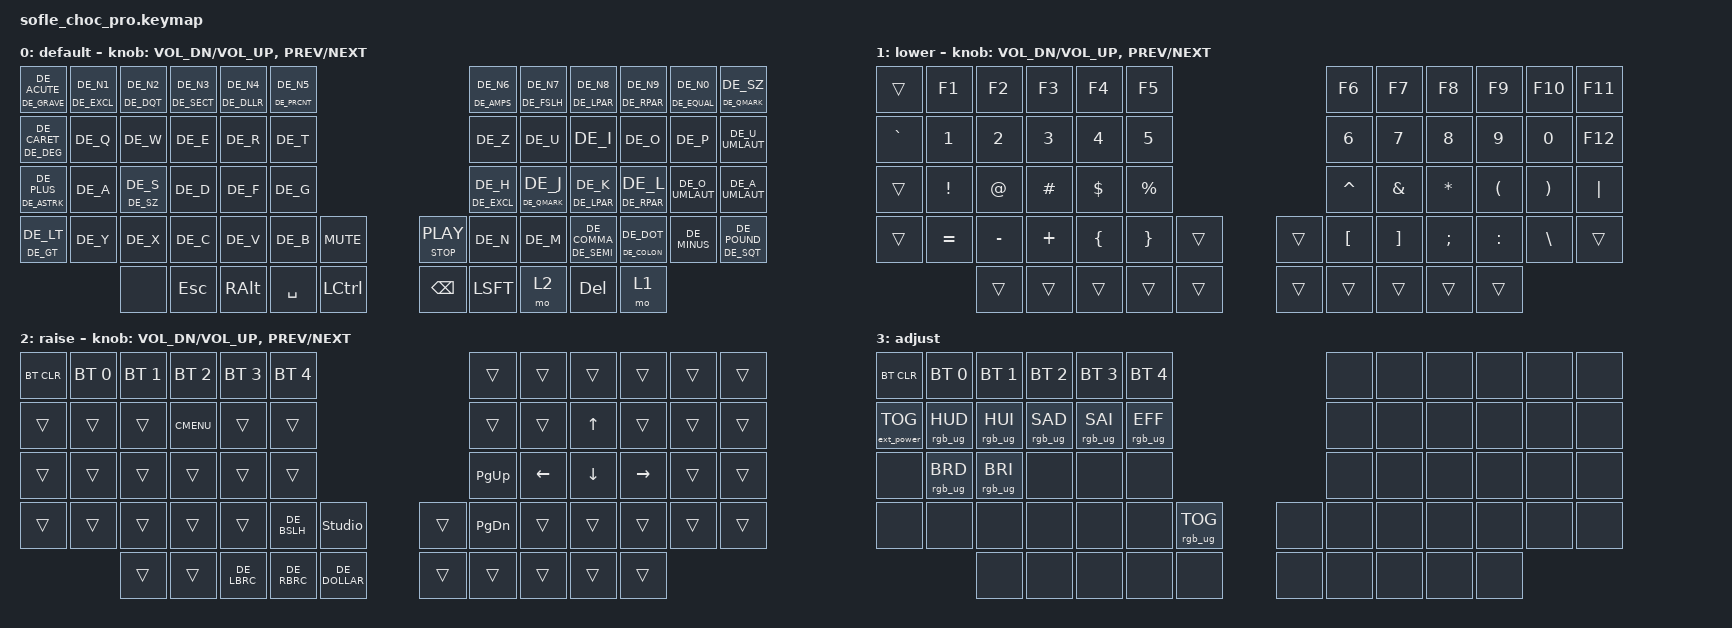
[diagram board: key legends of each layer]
/*
* Copyright (c) 2020 The ZMK Contributors
* keys_de wurde ebenfalls eingebunden. Bin auf dem Weg zu QWERTZ
* SPDX-License-Identifier: MIT
*/

#include <behaviors.dtsi>
// #include <behaviors/mouse_keys.dtsi>
#include <dt-bindings/zmk/keys.h>
#include <dt-bindings/zmk/bt.h>
#include <dt-bindings/zmk/rgb.h>
#include <dt-bindings/zmk/ext_power.h>
// #include <dt-bindings/zmk/pointing.h>
// #include <dt-bindings/zmk/mouse.h>
#include "keys_de.h"

/ {

  // Activate ADJUST layer by pressing raise and lower
  conditional_layers {
    compatible = "zmk,conditional-layers";
    adjust_layer {
      if-layers = <1 2>;
      then-layer = <3>;
    };
  };

//hier kommt Behaviors-Block für hold-tap rein
behaviors {

    sym_ht: symbol_hold_tap {
        compatible = "zmk,behavior-hold-tap";
        #binding-cells = <2>;

        flavor = "balanced";
        tapping-term-ms = <290>;

        bindings = <&kp>, <&kp>;
    };

};
//Blockende von Tapdance Behavior

combos {
        compatible = "zmk,combos";

        combo_hj_enter {
            timeout-ms = <50>;
            key-positions = <30 31>;
            bindings = <&kp RET>;
        };
    };

  keymap {
    compatible = "zmk,keymap";

    default_layer {
      display-name = "default";
      // ------------------------------------------------------------------------------------------------------------
      // |   `   |  1  |  2  |  3   |  4   |  5   |                   |  6   |  7    |  8    |  9   |   0   |   ß   |
      // |   ^   |  Q  |  W  |  E   |  R   |  T   |                   |  Y   |  U    |  I    |  O   |   P   |   Ü   |
      // |   + * |  A  | S ß |  D   |  F   |  G   |                   |  H ! |  J ?  |  K (  |  L ) |   Ö   |   Ä   |
      // |  <  > |  Z  |  X  |  C   |  V   |  B   |  MUTE  |  |  PLAY |  N   |  M    |  , ;  |  . : |   -   |   #   |
      //               |     | ESC  | SPACE| CRTL | ALT_GR |  | BSPC  | SHFT | RAISE |  DEL  |LOWER |
      bindings = <
        &sym_ht DE_GRAVE DE_ACUTE &sym_ht DE_EXCL  DE_N1 &sym_ht DE_DQT   DE_N2   &sym_ht DE_SECT  DE_N3   &sym_ht DE_DLLR  DE_N4    &sym_ht DE_PRCNT DE_N5                           &sym_ht DE_AMPS  DE_N6  &sym_ht DE_FSLH  DE_N7    &sym_ht DE_LPAR  DE_N8    &sym_ht DE_RPAR  DE_N9   &sym_ht DE_EQUAL DE_N0   &sym_ht DE_QMARK DE_SZ
        &sym_ht DE_DEG DE_CARET   &kp DE_Q  &kp DE_W    &kp DE_E    &kp DE_R     &kp DE_T                            &kp DE_Z  &kp DE_U     &kp DE_I     &kp DE_O    &kp DE_P    &kp DE_U_UMLAUT
        &sym_ht DE_ASTRK DE_PLUS &kp DE_A  &sym_ht DE_SZ DE_S    &kp DE_D    &kp DE_F     &kp DE_G                            &sym_ht DE_EXCL DE_H  &sym_ht DE_QMARK DE_J     &sym_ht DE_LPAR DE_K     &sym_ht DE_RPAR DE_L    &kp DE_O_UMLAUT &kp DE_A_UMLAUT
        &sym_ht DE_GT DE_LT &kp DE_Y  &kp DE_X    &kp DE_C    &kp DE_V     &kp DE_B   &kp C_MUTE &sym_ht C_STOP  C_PLAY    &kp DE_N  &kp DE_M     &sym_ht DE_SEMI DE_COMMA &sym_ht DE_COLON DE_DOT  &kp DE_MINUS &sym_ht DE_SQT DE_POUND
        &none &kp ESC &kp RALT &kp SPACE  &kp LCTRL    &kp BSPC  &kp LSFT  &mo 2 &kp DEL  &mo 1
      >;
// DE Grave zu ht wechseln über de acute - wie genau? 
// left function thumb row: none ESC RALT SPACE LCTLR
// right function thumb row: mo 2 LSFT BSPC DEL mo 1
      sensor-bindings = <&inc_dec_kp C_VOL_DN C_VOL_UP &inc_dec_kp C_PREV C_NEXT>;
    };

//Pfeiltasten aus encoders machen!!

    lower_layer {
      display-name = "lower";
      // ------------------------------------------------------------------------------------------------------------
      // |       |  F1 |  F2 |  F3  |  F4  |  F5  |                   |  F6  |  F7   |  F8   |  F9  |  F10  |  F11  |
      // |   `   |  1  |  2  |  3   |  4   |  5   |                   |  6   |  7    |  8    |  9   |   0   |  F12  |
      // |       |  !  |  @  |  #   |  $   |  %   |                   |  ^   |  &    |  *    |  (   |   )   |   |   |
      // |       |  =  |  -  |  +   |  {   |  }   |        |  |       |  [   |  ]    |  ;    |  :   |   \   |       |
      //               |     |      |      |      |        |  |       |      |       |       |      |
      bindings = <
        &trans    &kp F1    &kp F2    &kp F3      &kp F4    &kp F5                    &kp F6    &kp F7   &kp F8    &kp F9    &kp F10   &kp F11
        &kp GRAVE &kp N1    &kp N2    &kp N3      &kp N4    &kp N5                    &kp N6    &kp N7   &kp N8    &kp N9    &kp N0    &kp F12
        &trans    &kp EXCL  &kp AT    &kp HASH    &kp DLLR  &kp PRCNT                 &kp CARET &kp AMPS &kp ASTRK &kp LPAR  &kp RPAR  &kp PIPE
        &trans    &kp EQUAL &kp MINUS &kp PLUS &kp LBRC  &kp RBRC   &trans &trans  &kp LBKT  &kp RBKT &kp SEMI  &kp COLON &kp BSLH  &trans
        &trans    &trans      &trans    &trans     &trans &trans  &trans    &trans   &trans    &trans
      >;

      sensor-bindings = <&inc_dec_kp C_VOL_DN C_VOL_UP &inc_dec_kp C_PREV C_NEXT>;
// raise layer ist damit beendet. nur Drehfunktion der Regler nicht festgelegt
    };

    raise_layer {
      display-name = "raise";
      // ------------------------------------------------------------------------------------------------------------
      // | BTCLR | BT1  | BT2  |  BT3  |  BT4  |  BT5 |                |      |      |       |      |       |       |
      // |       |      |      | GUI   |       |      |                |      |      |   ^   |      |       |       |
      // |       |      |      |       |       |      |                | PGUP |   <- |   v   |  ->  |       |       |
      // |       |      |      |       |       |  \   |      |  |      | PGDN |      |       |      |       |       |
      //                |      |       |    {  |  }   |   $  |  |      |      |      |       |      |
      bindings = <
        &bt BT_CLR &bt BT_SEL 0 &bt BT_SEL 1 &bt BT_SEL 2 &bt BT_SEL 3 &bt BT_SEL 4                  &trans    &trans    &trans   &trans    &trans  &trans
        &trans     &trans       &trans       &kp K_CMENU  &trans       &trans                        &trans    &trans    &kp UP   &trans    &trans  &trans
        &trans     &trans       &trans       &trans       &trans       &trans                        &kp PG_UP &kp LEFT  &kp DOWN &kp RIGHT &trans  &trans
        &trans     &trans       &trans       &trans       &trans       &kp DE_BSLH  &studio_unlock       &trans  &kp PG_DN    &trans    &trans   &trans    &trans  &trans
        &trans       &trans       &kp DE_LBRC       &kp DE_RBRC        &kp DE_DOLLAR  &trans  &trans    &trans    &trans   &trans
      >;

      sensor-bindings = <&inc_dec_kp C_VOL_DN C_VOL_UP &inc_dec_kp C_PREV C_NEXT>;
    };

    adjust_layer {
      // ----------------------------------------------------------------------------------------------------------------------------
      // | BTCLR  |  BT1    |  BT2    |   BT3   |   BT4   |   BT5   |                  |      |      |       |      |       |       |
      // | EXTPWR | RGB_HUD | RGB_HUI | RGB_SAD | RGB_SAI | RGB_EFF |                  |      |      |       |      |       |       |
      // |        | RGB_BRD | RGB_BRI |         |         |         |                  |      |      |       |      |       |       |
      // |        |         |         |         |         |         | RGB_TOG | |      |      |      |       |      |       |       |
      //                    |         |         |         |         |         | |      |      |      |       |      |
      display-name = "adjust";
      bindings = <
        &bt BT_CLR        &bt BT_SEL 0    &bt BT_SEL 1    &bt BT_SEL 2    &bt BT_SEL 3    &bt BT_SEL 4                            &none &none &none &none &none &none
        &ext_power EP_TOG &rgb_ug RGB_HUD &rgb_ug RGB_HUI &rgb_ug RGB_SAD &rgb_ug RGB_SAI &rgb_ug RGB_EFF                         &none &none &none &none &none &none
        &none             &rgb_ug RGB_BRD &rgb_ug RGB_BRI &none           &none           &none                                   &none &none &none &none &none &none
        &none             &none           &none           &none           &none           &none            &rgb_ug RGB_TOG &none  &none &none &none &none &none &none
        &none           &none           &none           &none            &none           &none  &none &none &none &none
      >;
    };
  };
};
